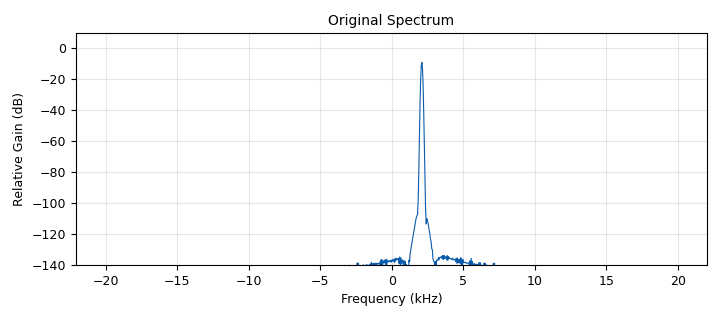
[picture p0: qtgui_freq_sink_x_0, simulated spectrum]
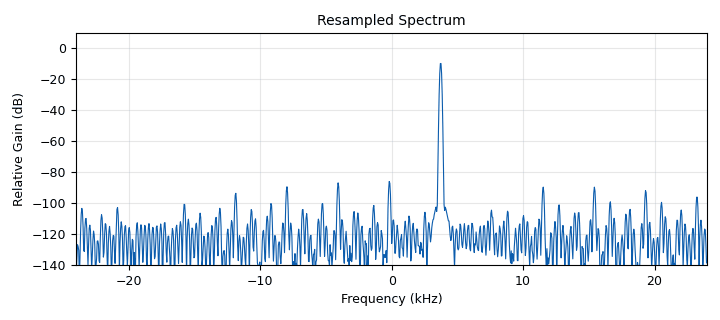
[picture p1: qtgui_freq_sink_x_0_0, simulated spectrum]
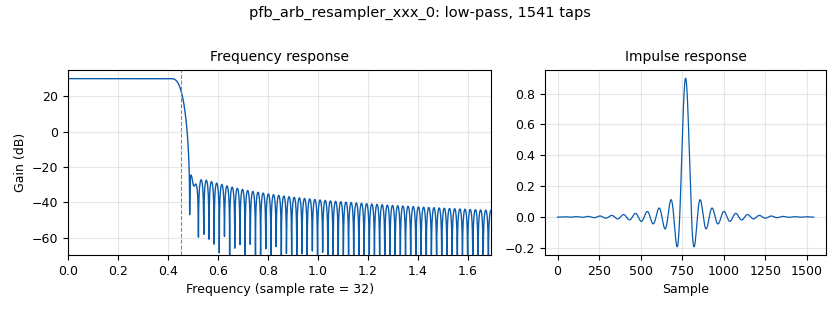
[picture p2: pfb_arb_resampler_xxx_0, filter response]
options:
  parameters:
    category: Custom
    generate_options: qt_gui
    id: resampler_demo
    output_language: python
  states: {}

blocks:
- name: frac_bw
  id: variable_qtgui_label
  parameters:
    formatter: 'lambda x: "%0.2f"%x'
    gui_hint: 0,2,1,1
    label: Fractional Bandwidth
    type: real
    value: '.45'
  states: {}
- name: new_rate
  id: variable_qtgui_label
  parameters:
    gui_hint: 0,1,1,1
    label: Resampling Rate
    type: real
    value: '48000'
  states: {}
- name: nphases
  id: variable
  parameters:
    value: '32'
  states: {}
- name: rs_taps
  id: variable
  parameters:
    value: firdes.low_pass(nphases, nphases, frac_bw, 0.5-frac_bw)
  states: {}
- name: samp_rate
  id: variable_qtgui_label
  parameters:
    gui_hint: 0,0,1,1
    label: Sampling Rate
    type: real
    value: '44100'
  states: {}
- name: adder
  id: blocks_add_const_vxx
  parameters:
    const: '-1.0'
    type: float
  states: {}
- name: analog_frequency_modulator_fc_0
  id: analog_frequency_modulator_fc
  parameters:
    sensitivity: math.pi
  states: {}
- name: analog_sig_source_x_0
  id: analog_sig_source_x
  parameters:
    amp: '2'
    freq: '0.05'
    offset: '0'
    samp_rate: samp_rate
    type: float
    waveform: analog.GR_TRI_WAVE
  states: {}
- name: import_0
  id: import
  parameters:
    imports: import math
  states: {}
- name: pfb_arb_resampler_xxx_0
  id: pfb_arb_resampler_xxx
  parameters:
    atten: '100'
    nfilts: nphases
    rrate: float(new_rate)/samp_rate
    taps: rs_taps
    type: ccf
  states: {}
- name: qtgui_freq_sink_x_0
  id: qtgui_freq_sink_x
  parameters:
    bw: samp_rate
    fc: '0'
    fftsize: '1024'
    gui_hint: 1,0,1,3
    label1: Original Spectrum
    legend: 'False'
    name: Original Spectrum
    showports: 'True'
    type: complex
    wintype: fft.window.WIN_BLACKMAN_hARRIS
  states: {}
- name: qtgui_freq_sink_x_0_0
  id: qtgui_freq_sink_x
  parameters:
    bw: new_rate
    fc: '0'
    fftsize: '1024'
    gui_hint: 2,0,1,3
    label1: Resampled Spectrum
    legend: 'False'
    name: Resampled Spectrum
    showports: 'True'
    type: complex
    wintype: fft.window.WIN_BLACKMAN_hARRIS
  states: {}
- name: throttle
  id: blocks_throttle
  parameters:
    samples_per_second: samp_rate
    type: float
  states: {}

connections:
- [adder, '0', throttle, '0']
- [analog_frequency_modulator_fc_0, '0', pfb_arb_resampler_xxx_0, '0']
- [analog_frequency_modulator_fc_0, '0', qtgui_freq_sink_x_0, '0']
- [analog_sig_source_x_0, '0', adder, '0']
- [pfb_arb_resampler_xxx_0, '0', qtgui_freq_sink_x_0_0, '0']
- [throttle, '0', analog_frequency_modulator_fc_0, '0']

metadata:
  file_format: 1
